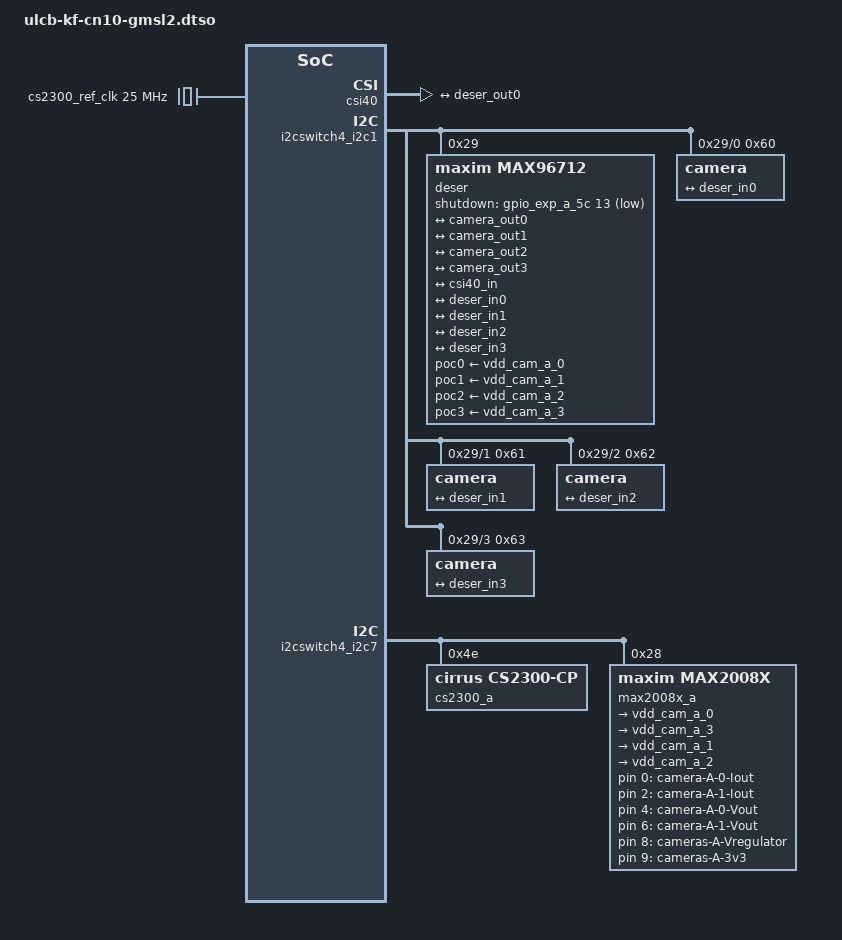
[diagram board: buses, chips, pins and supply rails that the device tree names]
// SPDX-License-Identifier: GPL-2.0
/*
 * Device Tree Overlay for the H3ULCB Kingfisher board:
 *  use GMSL2 card on CN10
 *
 * Copyright (C) 2017-2020 Renesas Electronics Corp.
 * Copyright (C) 2017-2020 Cogent Embedded, Inc.
 */

/dts-v1/;
/plugin/;

#include <dt-bindings/gpio/gpio.h>
#include "camera.dtsi"

/ {
	fragment@101 {
		target-path = "/";

		__overlay__ {

			cs2300_ref_clk: cs2300_ref_clk {
				compatible = "fixed-clock";
				#clock-cells = <0>;
				clock-frequency = <25000000>;
			};

			iio_hwmon_a: hwmon_a@0 {
				compatible = "iio-hwmon";
				io-channels = <&max2008x_a 0>, <&max2008x_a 2>, /* current */
					      <&max2008x_a 4>, <&max2008x_a 6>, /* voltage */
					      <&max2008x_a 8>, <&max2008x_a 9>; /* misc voltages */
				io-channel-names = "camera-A-0-Iout", "camera-A-1-Iout",
						   "camera-A-0-Vout", "camera-A-1-Vout",
						   "cameras-A-Vregulator", "cameras-A-3v3";
			};
		};
	};
};

&csi40 {
	ports {
		#address-cells = <1>;
		#size-cells = <0>;

		port@0 {
			reg = <0>;

			csi40_in: endpoint {
				clock-lanes = <0>;
				data-lanes = <1 2 3 4>;
				remote-endpoint = <&deser_out0>;
			};
		};
	};
};

&i2cswitch4_i2c1 {
	#address-cells = <1>;
	#size-cells = <0>;

	/* in uboot type:
	 *  fdt rm /soc/i2c@e66d8000/i2c-switch@71/i2c@1/deser@2c
	 */
	deser@29 {
		compatible = "maxim,max96712", "maxim,max9296";
		#address-cells = <1>;
		#size-cells = <0>;
		reg = <0x29 0x48>;
		reg-names = "max96712", "max9296";
		regs = <0x0c 0x0d 0x0e 0x0f>;
		clocks = <&cs2300_a>;
		clock-names = "ref_clk";
		shutdown-gpios = <&gpio_exp_a_5c 13 GPIO_ACTIVE_LOW>;

		poc0-supply = <&vdd_cam_a_0>;
		poc1-supply = <&vdd_cam_a_1>;
		poc2-supply = <&vdd_cam_a_2>;
		poc3-supply = <&vdd_cam_a_3>;

		ports {
			#address-cells = <1>;
			#size-cells = <0>;

			port@0 {
				reg = <0>;
				deser_in0: endpoint {
					remote-endpoint = <&camera_out0>;
				};
			};

			port@1 {
				reg = <1>;
				deser_in1: endpoint {
					remote-endpoint = <&camera_out1>;
				};
			};

			port@2 {
				reg = <2>;
				deser_in2: endpoint {
					remote-endpoint = <&camera_out2>;
				};
			};

			port@3 {
				reg = <3>;
				deser_in3: endpoint {
					remote-endpoint = <&camera_out3>;
				};
			};

			port@4 {
				reg = <4>;
				deser_out0: endpoint {
					clock-lanes = <0>;
					data-lanes = <1 2 3 4>;
					remote-endpoint = <&csi40_in>;
				};
			};
		};

		i2c@0 {
			#address-cells = <1>;
			#size-cells = <0>;
			reg = <0>;

			camera@60 {
				compatible = LVDS_CAMERA;
				reg = <0x60 0x0c>;

				port {
					camera_out0: endpoint {
						remote-endpoint = <&deser_in0>;
					};
				};
			};
		};

		i2c@1 {
			#address-cells = <1>;
			#size-cells = <0>;
			reg = <1>;

			camera@61 {
				compatible = LVDS_CAMERA;
				reg = <0x61 0x0d>;

				port {
					camera_out1: endpoint {
						remote-endpoint = <&deser_in1>;
					};
				};
			};
		};

		i2c@2 {
			#address-cells = <1>;
			#size-cells = <0>;
			reg = <2>;

			camera@62 {
				compatible = LVDS_CAMERA;
				reg = <0x62 0x0e>;

				port {
					camera_out2: endpoint {
						remote-endpoint = <&deser_in2>;
					};
				};
			};
		};

		i2c@3 {
			#address-cells = <1>;
			#size-cells = <0>;
			reg = <3>;

			camera@63 {
				compatible = LVDS_CAMERA;
				reg = <0x63 0x0f>;

				port {
					camera_out3: endpoint {
						remote-endpoint = <&deser_in3>;
					};
				};
			};
		};
	};
};

&i2cswitch4_i2c7 {
	#address-cells = <1>;
	#size-cells = <0>;

	cs2300_a: clk_multiplier_a@4e {
		#clock-cells = <0>;
		compatible = "cirrus,cs2300-cp";
		reg = <0x4e>;
		clocks = <&cs2300_ref_clk>;
		clock-names = "clk_in";
		assigned-clocks = <&cs2300_a>;
		assigned-clock-rates = <25000000>;
	};

	max2008x_a: vcam_switch_a@28 {
		compatible = "maxim,max2008x";
		reg = <0x28>;
		#io-channel-cells = <1>;

		regulators {
			#address-cells = <1>;
			#size-cells = <0>;

			vdd_cam_a_0: SW0 {
				reg = <0>;
				regulator-name = "Camera-A-0";
			};
			vdd_cam_a_3: SW1 {
				reg = <1>;
				regulator-name = "Camera-A-3";
			};
			vdd_cam_a_1: SW2 {
				reg = <2>;
				regulator-name = "Camera-A-1";
			};
			vdd_cam_a_2: SW3 {
				reg = <3>;
				regulator-name = "Camera-A-2";
			};
		};
	};
};
